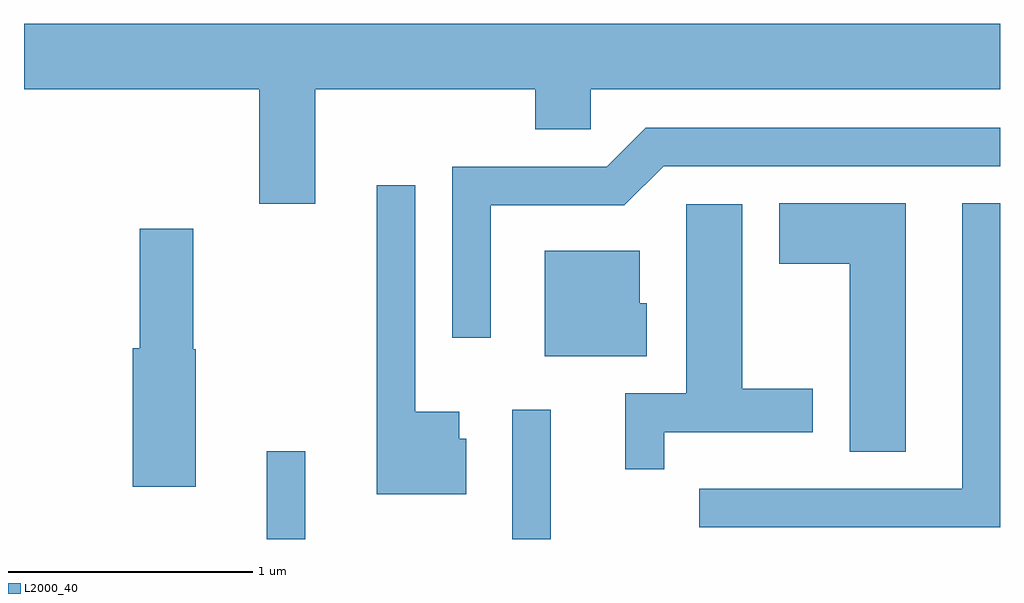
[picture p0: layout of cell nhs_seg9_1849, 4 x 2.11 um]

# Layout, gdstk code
import gdstk
lib = gdstk.Library(unit=1e-6, precision=1e-09)
def R(c, l, rs):  # rectangles x0, y0, x1, y1
    for r in rs: c.add(gdstk.rectangle(r[:2], r[2:], *l))
def P(c, l, *ps):  # polygons
    for p in ps: c.add(gdstk.Polygon(p, *l))
L2000_40 = (2000, 40)

nhs_seg9_1849 = lib.new_cell('nhs_seg9_1849')
R(nhs_seg9_1849, L2000_40, [(240.606,1974.432,240.764,1974.793), (241.611,1974.432,241.769,1974.963)])
P(nhs_seg9_1849, L2000_40, [(240.804,1976.276),(241.706,1976.276),(241.706,1976.111),(241.934,1976.111),(241.934,1976.276),(243.611,1976.276),(243.611,1976.544),(239.611,1976.544),(239.611,1976.276),(240.576,1976.276),(240.576,1975.806),(240.804,1975.806)],
  [(241.524,1975.801),(242.072,1975.801),(242.232,1975.961),(243.611,1975.961),(243.611,1976.119),(242.159,1976.119),(241.999,1975.959),(241.366,1975.959),(241.366,1975.258),(241.524,1975.258)],
  [(241.424,1974.844),(241.394,1974.844),(241.394,1974.954),(241.214,1974.954),(241.214,1975.883),(241.056,1975.883),(241.056,1974.616),(241.424,1974.616)],
  [(243.224,1975.809),(242.706,1975.809),(242.706,1975.561),(242.996,1975.561),(242.996,1974.791),(243.224,1974.791)],
  [(243.611,1975.809),(243.456,1975.809),(243.456,1974.639),(242.378,1974.639),(242.378,1974.481),(243.611,1974.481)],
  [(242.234,1974.871),(242.844,1974.871),(242.844,1975.049),(242.554,1975.049),(242.554,1975.804),(242.326,1975.804),(242.326,1975.029),(242.076,1975.029),(242.076,1974.718),(242.234,1974.718)],
  [(240.314,1975.21),(240.304,1975.21),(240.304,1975.704),(240.086,1975.704),(240.086,1975.214),(240.056,1975.214),(240.056,1974.646),(240.314,1974.646)],
  [(242.164,1975.399),(242.134,1975.399),(242.134,1975.614),(241.746,1975.614),(241.746,1975.181),(242.164,1975.181)])

lib.write_gds('nhs_seg9_1849.gds')
